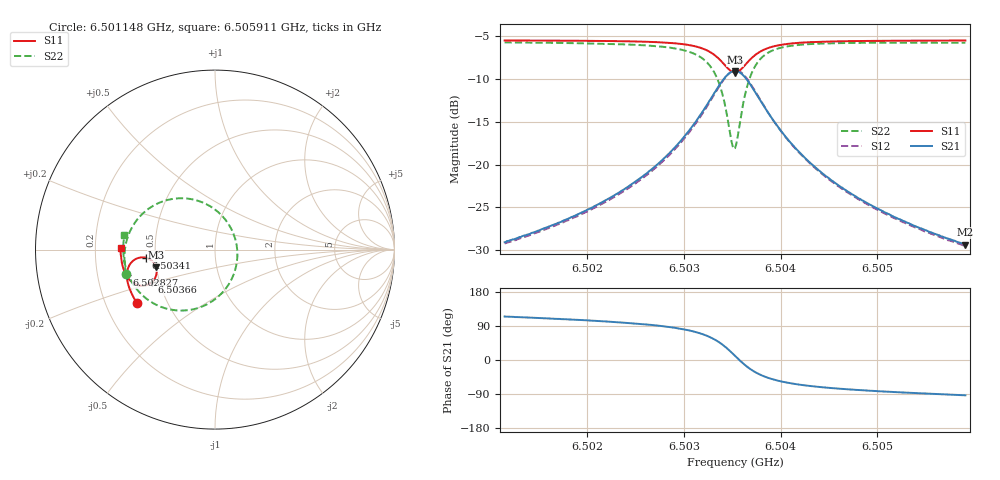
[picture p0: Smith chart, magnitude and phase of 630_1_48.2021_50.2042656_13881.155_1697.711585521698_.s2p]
#  HZ  S  RI  R  50.00
! Rohde & Schwarz Vector Network Analyzer
! Rohde-Schwarz,ZNB20-2Port,1311601062101988,3.16
! Created: UTC 3/20/2024, 12:04:16 PM
! freq[Hz]  re:S11  im:S11  re:S21  im:S21  re:S12  im:S12  re:S22  im:S22
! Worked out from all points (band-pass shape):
!   401 points, 6.501148 GHz to 6.505911 GHz, reference 50 ohm
!   highest |S21| = -9.11 dB at 6.503529 GHz (marker M1); lowest = -29.3 dB at 6.505911 GHz (marker M2)
!   |S21| within 3 dB of the highest: 6.503292 GHz to 6.503768 GHz (475.2 kHz wide, 0.00731 % of centre)
!   lowest |S11| = -9.3 dB at 6.503529 GHz (marker M3), VSWR 2.04, Z = 24.9 - j5.61 ohm
!   |S11| at or under -10 dB: nowhere
!   |S22| runs from -18.2 to -5.8 dB; largest |S21 - S12| = 0.013
!   S11 on the Smith chart (normalised r, x): 6.501148 GHz: 0.34, -0.28; 6.502827 GHz: 0.33, -0.13; 6.50341 GHz: 0.44, -0.05; 6.50366 GHz: 0.46, -0.19; 6.505911 GHz: 0.31, +0.01
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6.5011484e9  -0.4355 -0.2963  -0.0148 0.0321  -0.013 0.0322  -0.4945 -0.1378
6.501946e9  -0.4685 -0.2355  -0.014 0.0507  -0.0114 0.0502  -0.5048 -0.0497
6.5023985e9  -0.4836 -0.1939  -0.0104 0.072  -0.00718 0.0707  -0.4993 0.0182
6.5027437e9  -0.4907 -0.1539  -0.000653 0.102  0.00306 0.0996  -0.4779 0.0923
6.5028271e9  -0.4911 -0.1421  0.00418 0.1129  0.0082 0.11  -0.4669 0.1154
6.5030294e9  -0.4862 -0.1081  0.0277 0.1485  0.0315 0.1438  -0.4183 0.1849
6.5031723e9  -0.4712 -0.078  0.0662 0.1828  0.0692 0.1767  -0.3433 0.2447
6.5033152e9  -0.4319 -0.0482  0.1507 0.2121  0.1514 0.2057  -0.1899 0.2862
6.5034104e9  -0.3838 -0.0458  0.2449 0.1949  0.2452 0.1901  -0.0266 0.2414
6.5034938e9  -0.3394 -0.0765  0.3256 0.1176  0.3284 0.1133  0.1025 0.0893
6.5035295e9  -0.3281 -0.0994  0.3437 0.0672  0.3479 0.0614  0.1243 -0.00576
6.5035533e9  -0.3251 -0.1164  0.3471 0.0313  0.3519 0.0242  0.1215 -0.0715
6.503589e9  -0.3274 -0.1414  0.3393 -0.0205  0.3435 -0.03  0.093 -0.1638
6.5036604e9  -0.3505 -0.18  0.2907 -0.0993  0.2911 -0.1118  -0.0214 -0.2913
6.5037557e9  -0.3928 -0.2004  0.2098 -0.1439  0.2048 -0.1548  -0.1866 -0.3397
6.5038271e9  -0.4198 -0.2004  0.1604 -0.149  0.1537 -0.1576  -0.2786 -0.3266
6.5039105e9  -0.4435 -0.193  0.1188 -0.1428  0.1112 -0.1488  -0.3521 -0.2941
6.5040771e9  -0.4733 -0.1717  0.0693 -0.1211  0.0625 -0.1237  -0.4322 -0.225
6.5043272e9  -0.496 -0.1403  0.0355 -0.0934  0.0304 -0.094  -0.481 -0.1455
6.5046605e9  -0.5111 -0.1041  0.0166 -0.0698  0.0128 -0.0695  -0.5036 -0.0732
6.5051248e9  -0.5212 -0.06  0.00537 -0.051  0.00292 -0.0501  -0.5111 -0.00323
6.5059106e9  -0.5265 0.00744  -0.00192 -0.0342  -0.00333 -0.0333  -0.5043 0.0832
